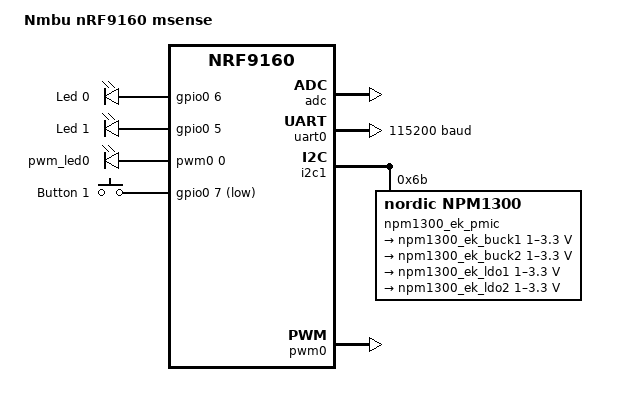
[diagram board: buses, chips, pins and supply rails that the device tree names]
/*
 * Copyright (c) 2018-2020 Nordic Semiconductor ASA
 * Copyright (c) 2020 Circuit Dojo LLC
 *
 * SPDX-License-Identifier: Apache-2.0
 */
#include "msense_dev_common-pinctrl.dtsi"
#include <zephyr/dt-bindings/input/input-event-codes.h>
#include <dt-bindings/regulator/npm1300.h>

/ {
	model = "Nmbu nRF9160 msense";
	compatible = "circuitdojo,feather-nrf9160";

	chosen {
		zephyr,console = &uart0;
		zephyr,shell-uart = &uart0;
		zephyr,uart-mcumgr = &uart0;
	};

	leds {
		compatible = "gpio-leds";
		led0: led_0 {
			gpios = <&gpio0 6 GPIO_OPEN_DRAIN>;
			label = "Led 0";
		};
		led1: led_1 {
			gpios = <&gpio0 5 GPIO_OPEN_DRAIN>;
			label = "Led 1";
		};
	};

	pwmleds {
		compatible = "pwm-leds";
		pwm_led0: pwm_led_0 {
			pwms = <&pwm0 0 PWM_MSEC(20) PWM_POLARITY_INVERTED>;
		};
	};

	buttons {
		compatible = "gpio-keys";
		button0: button_0 {
			gpios = <&gpio0 7 (GPIO_PULL_UP | GPIO_ACTIVE_LOW)>;
			label = "Button 1";
			zephyr,code = <INPUT_KEY_0>;
		};
		/*button1: button_1 {
			gpios = <&gpio0 11 (GPIO_PULL_UP | GPIO_ACTIVE_LOW)>;
			label = "Switch 1";
			zephyr,code = <INPUT_KEY_1>;
		};*/
	};

	/* These aliases are provided for compatibility with samples */
	aliases {
		led0 = &led0;
		led1 = &led1;
		bootloader-led0 = &led0;
		pwm-led0 = &pwm_led0;
		sw0 = &button0;
		mcuboot-button0 = &button0;
		mcuboot-led0 = &led0;
		watchdog0 = &wdt0;
	};
};

&adc {
	status = "okay";
};

&gpiote {
	status = "okay";
};

&gpio0 {
	status = "okay";
};

&uart0 {
	status = "okay";
	current-speed = <115200>;
	pinctrl-0 = <&uart0_default>;
	pinctrl-1 = <&uart0_sleep>;
	pinctrl-names = "default", "sleep";
};

&i2c1 {
	compatible = "nordic,nrf-twim";
	status = "okay";

	pinctrl-0 = <&i2c1_default>;
	pinctrl-1 = <&i2c1_sleep>;
	pinctrl-names = "default", "sleep";
};


arduino_i2c: &i2c1 {
	compatible = "nordic,nrf-twim";
	status = "okay";
	pinctrl-0 = <&i2c1_default>;
	pinctrl-1 = <&i2c1_sleep>;
	pinctrl-names = "default", "sleep";
	npm1300_ek_pmic: pmic@6b {
		compatible = "nordic,npm1300";
		reg = <0x6b>;
 
	 	// long-press-reset = "one_button";
	 	// ship-to-active-time = <96>;
 
		npm1300_ek_gpio: gpio-controller {
			compatible = "nordic,npm1300-gpio";
			gpio-controller;
			#gpio-cells = <2>;
			ngpios = <5>;
		};
 
		npm1300_ek_regulators: regulators {
			compatible = "nordic,npm1300-regulator";
 
						
			npm1300_ek_buck1: BUCK1 {
				regulator-min-microvolt = <1000000>;
				regulator-max-microvolt = <3300000>;
				
				retention-microvolt = <2000000>;
			};
			

			npm1300_ek_buck2: BUCK2 {
				regulator-min-microvolt = <1000000>;
				regulator-max-microvolt = <3300000>;
				
				retention-microvolt = <1000000>;
			};
			
			npm1300_ek_ldo1: LDO1 {
				regulator-min-microvolt = <1000000>;
				regulator-max-microvolt = <3300000>;
				regulator-initial-mode = <NPM1300_LDSW_MODE_LDSW>;
				// soft-start-microamp = <20000>;
			};
			
			npm1300_ek_ldo2: LDO2 {
				regulator-min-microvolt = <1000000>;
				regulator-max-microvolt = <3300000>;
				regulator-initial-mode = <NPM1300_LDSW_MODE_LDSW>;
				// soft-start-microamp = <20000>;
				regulator-boot-on;
			};
			
		};
 
				
		npm1300_ek_charger: charger {
			compatible = "nordic,npm1300-charger";
			term-microvolt = <3500000>;
			term-warm-microvolt = <3600000>;
			// term-current-percent = <10>;
			current-microamp = <100000>;
			// trickle-microvolt = <2500000>;
			dischg-limit-microamp = <1340000>;
			vbus-limit-microamp = <500000>;
			thermistor-ohms = <10000>;
			thermistor-beta = <3380>;
			charging-enable;
		};
		
				
		npm1300_ek_leds: leds {
			compatible = "nordic,npm1300-led";
			nordic,led0-mode = "error";    
			nordic,led1-mode = "charging";    
			nordic,led2-mode = "host";
		};
		
	};
 };	

&pwm0 {
	status = "okay";
	pinctrl-0 = <&pwm0_default>;
	pinctrl-1 = <&pwm0_sleep>;
	pinctrl-names = "default", "sleep";
};


/* {
	vbatt {
		compatible = "voltage-divider";
		io-channels = <&adc 7>;
		output-ohms = <100000>;
		full-ohms = <(100000 + 100000)>;
		power-gpios = <&gpio0 25 GPIO_ACTIVE_HIGH>;
	};
};*/

